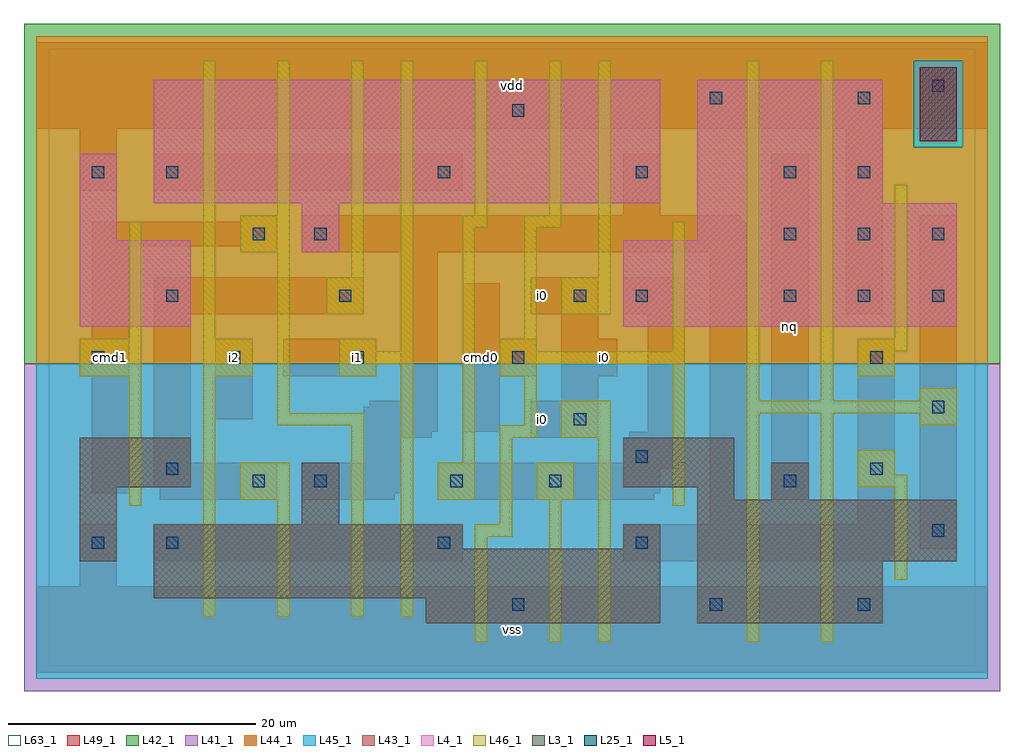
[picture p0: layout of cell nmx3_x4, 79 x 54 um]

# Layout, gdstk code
import gdstk
lib = gdstk.Library(unit=1e-6, precision=1e-09)
def R(c, l, rs):  # rectangles x0, y0, x1, y1
    for r in rs: c.add(gdstk.rectangle(r[:2], r[2:], *l))
def A(c, l, x, y, w, h, nx, ny, dx, dy):  # array of equal rectangles
    R(c, l, [(x+i*dx, y+j*dy, x+i*dx+w, y+j*dy+h) for i in range(nx) for j in range(ny)])
L3_1 = (3, 1)
L4_1 = (4, 1)
L5_1 = (5, 1)
L25_1 = (25, 1)
L41_1 = (41, 1)
L42_1 = (42, 1)
L43_1 = (43, 1)
L44_1 = (44, 1)
L45_1 = (45, 1)
L46_1 = (46, 1)
L49_1 = (49, 1)
L63_1 = (63, 1)

nmx3_x4 = lib.new_cell('nmx3_x4')
R(nmx3_x4, L3_1, [(30.5,3.5,49.5,5.5), (52.5,3.5,67.5,8.5), (8.5,5.5,49.5,9.5), (2.5,8.5,5.5,14.5), (52.5,8.5,73.5,13.5), (8.5,9.5,33.5,11.5), (46.5,9.5,49.5,11.5), (20.5,11.5,23.5,16.5), (52.5,13.5,55.5,14.5), (58.5,13.5,61.5,16.5), (2.5,14.5,11.5,18.5), (46.5,14.5,55.5,18.5)])
R(nmx3_x4, L4_1, [(2.5,27.5,11.5,34.5), (46.5,27.5,73.5,34.5), (20.5,33.5,23.5,37.5), (2.5,34.5,5.5,41.5), (52.5,34.5,73.5,37.5), (8.5,37.5,49.5,47.5), (52.5,37.5,67.5,47.5)])
R(nmx3_x4, L5_1, [(70.5,42.5,73.5,48.5)])
A(nmx3_x4, L25_1, 37.5, 4.5, 1, 1, 1, 3, 0, 20)
A(nmx3_x4, L25_1, 3.5, 9.5, 1, 1, 1, 3, 0, 15)
A(nmx3_x4, L25_1, 59.5, 29.5, 1, 1, 3, 2, 6, 5)
R(nmx3_x4, L25_1, [(53.5,4.5,54.5,5.5), (65.5,4.5,66.5,5.5), (9.5,9.5,10.5,10.5), (31.5,9.5,32.5,10.5), (47.5,9.5,48.5,10.5), (71.5,10.5,72.5,11.5), (16.5,14.5,17.5,15.5), (21.5,14.5,22.5,15.5), (32.5,14.5,33.5,15.5), (40.5,14.5,41.5,15.5), (59.5,14.5,60.5,15.5), (9.5,15.5,10.5,16.5), (66.5,15.5,67.5,16.5), (47.5,16.5,48.5,17.5), (42.5,19.5,43.5,20.5), (71.5,20.5,72.5,21.5), (14.5,24.5,15.5,25.5), (24.5,24.5,25.5,25.5), (66.5,24.5,67.5,25.5), (9.5,29.5,10.5,30.5), (23.5,29.5,24.5,30.5), (42.5,29.5,43.5,30.5), (47.5,29.5,48.5,30.5), (16.5,34.5,17.5,35.5), (21.5,34.5,22.5,35.5), (9.5,39.5,10.5,40.5), (31.5,39.5,32.5,40.5), (47.5,39.5,48.5,40.5), (59.5,39.5,60.5,40.5), (65.5,39.5,66.5,40.5), (53.5,45.5,54.5,46.5), (65.5,45.5,66.5,46.5), (71.5,46.5,72.5,47.5)])
R(nmx3_x4, L41_1, [(-2,-2,77,24.5)])
R(nmx3_x4, L42_1, [(-2,24.5,77,52)])
R(nmx3_x4, L43_1, [(30.5,3.5,49.5,5.5), (52.5,3.5,67.5,8.5), (8.5,5.5,49.5,9.5), (2.5,8.5,5.5,14.5), (52.5,8.5,73.5,13.5), (8.5,9.5,33.5,11.5), (46.5,9.5,49.5,11.5), (20.5,11.5,23.5,16.5), (52.5,13.5,55.5,14.5), (58.5,13.5,61.5,16.5), (2.5,14.5,11.5,18.5), (46.5,14.5,55.5,18.5), (2.5,27.5,11.5,34.5), (46.5,27.5,73.5,34.5), (20.5,33.5,23.5,37.5), (2.5,34.5,5.5,41.5), (52.5,34.5,73.5,37.5), (8.5,37.5,49.5,47.5), (52.5,37.5,67.5,47.5), (70.5,42.5,73.5,48.5)])
R(nmx3_x4, L44_1, [(-1,24.5,76,42), (-1,42,70,49), (74,42,76,49), (-1,49,76,51)])
R(nmx3_x4, L45_1, [(-1,-1,76,24.5), (70,42,74,49)])
R(nmx3_x4, L46_1, [(34.5,2,35.5,10.5), (40.5,2,41.5,13.5), (44.5,2,45.5,18.5), (56.5,2,57.5,20.5), (62.5,2,63.5,20.5), (12.5,4,13.5,23.5), (18.5,4,19.5,13.5), (24.5,4,25.5,19.5), (28.5,4,29.5,24.5), (68.5,7,69.5,14.5), (34.5,10.5,37.5,11.5), (36.5,11.5,37.5,18.5), (6.5,13,7.5,23.5), (50.5,13,51.5,24.5), (15.5,13.5,19.5,16.5), (31.5,13.5,34.5,16.5), (39.5,13.5,42.5,16.5), (65.5,14.5,69.5,15.5), (65.5,15.5,68.5,17.5), (33.5,16.5,34.5,35.5), (36.5,18.5,39.5,19.5), (41.5,18.5,45.5,21.5), (18.5,19.5,25.5,20.5), (38.5,19.5,39.5,23.5), (70.5,19.5,73.5,20.5), (18.5,20.5,19.5,33.5), (56.5,20.5,73.5,21.5), (56.5,21.5,57.5,49), (62.5,21.5,63.5,49), (70.5,21.5,73.5,22.5), (2.5,23.5,7.5,26.5), (12.5,23.5,16.5,26.5), (23.5,23.5,26.5,24.5), (36.5,23.5,39.5,24.5), (65.5,23.5,68.5,25.5), (23.5,24.5,29.5,25.5), (36.5,24.5,51.5,25.5), (23.5,25.5,26.5,26.5), (28.5,25.5,29.5,49), (36.5,25.5,39.5,26.5), (50.5,25.5,51.5,36), (65.5,25.5,69.5,26.5), (6.5,26.5,7.5,36), (12.5,26.5,13.5,49), (38.5,26.5,39.5,35.5), (68.5,26.5,69.5,39), (22.5,28.5,25.5,31.5), (41.5,28.5,45.5,31.5), (24.5,31.5,25.5,49), (44.5,31.5,45.5,49), (15.5,33.5,19.5,36.5), (33.5,35.5,35.5,36.5), (38.5,35.5,41.5,36.5), (18.5,36.5,19.5,49), (34.5,36.5,35.5,49), (40.5,36.5,41.5,49)])
R(nmx3_x4, L49_1, [(-1,-0.5,76,6.5), (2.5,6.5,5.5,11.5), (8.5,8.5,33.5,11.5), (46.5,8.5,68,9), (46.5,9,68.5,11.5), (70.5,9.5,73.5,36.5), (53.5,11.5,56.5,33.5), (65.5,11.5,68.5,26.5), (9,13.5,18.5,14.5), (20.5,13.5,28,14), (31.5,13.5,49,14), (58.5,13.5,61.5,41.5), (3.5,14,6.5,23.5), (20.5,14,28.5,16.5), (31.5,14,49.5,16), (8.5,14.5,18.5,16.5), (31.5,16,51,16.5), (8.5,16.5,11.5,28.5), (25.5,16.5,28.5,18.5), (46.5,16.5,51.5,18.5), (25.5,18.5,31,19), (39,18.5,44.5,21.5), (47,18.5,51.5,19), (25.5,19,31.5,21), (33.5,19,36.5,23.5), (48.5,19,51.5,28.5), (13.5,20,16.5,26.5), (26,21,31.5,21.5), (28.5,21.5,31.5,33.5), (41.5,21.5,44.5,23.5), (2.5,23.5,6.5,26.5), (19,23.5,26.5,26.5), (33.5,23.5,39.5,26.5), (41.5,23.5,46,26.5), (3.5,26.5,6.5,34), (33.5,26.5,36.5,31), (41.5,26.5,44.5,28.5), (8.5,28.5,25.5,31.5), (39,28.5,44.5,31.5), (46.5,28.5,51.5,31), (64.5,28.5,67.5,43.5), (46.5,31,51,31.5), (15.5,33.5,18.5,34), (20.5,33.5,56.5,36), (3.5,34,18.5,36), (15.5,36,18.5,36.5), (20.5,36,56,36.5), (46.5,36.5,49.5,41.5), (2.5,38.5,5.5,43.5), (8.5,38.5,33.5,41.5), (-1,43.5,76,50.5)])
R(nmx3_x4, L63_1, [(0,0,75,50)])
nmx3_x4.add(gdstk.Label('cmd1', (5,25), layer=49, texttype=1))
nmx3_x4.add(gdstk.Label('cmd1', (5,25), layer=49, texttype=1))
nmx3_x4.add(gdstk.Label('i2', (15,25), layer=49, texttype=1))
nmx3_x4.add(gdstk.Label('i2', (15,25), layer=49, texttype=1))
nmx3_x4.add(gdstk.Label('i1', (25,25), layer=49, texttype=1))
nmx3_x4.add(gdstk.Label('i1', (25,25), layer=49, texttype=1))
nmx3_x4.add(gdstk.Label('vss', (37.5,3), layer=49, texttype=1))
nmx3_x4.add(gdstk.Label('vss', (37.5,3), layer=49, texttype=1))
nmx3_x4.add(gdstk.Label('i0', (40,20), layer=49, texttype=1))
nmx3_x4.add(gdstk.Label('i0', (40,20), layer=49, texttype=1))
nmx3_x4.add(gdstk.Label('cmd0', (35,25), layer=49, texttype=1))
nmx3_x4.add(gdstk.Label('cmd0', (35,25), layer=49, texttype=1))
nmx3_x4.add(gdstk.Label('i0', (40,30), layer=49, texttype=1))
nmx3_x4.add(gdstk.Label('i0', (40,30), layer=49, texttype=1))
nmx3_x4.add(gdstk.Label('vdd', (37.5,47), layer=49, texttype=1))
nmx3_x4.add(gdstk.Label('vdd', (37.5,47), layer=49, texttype=1))
nmx3_x4.add(gdstk.Label('i0', (45,25), layer=49, texttype=1))
nmx3_x4.add(gdstk.Label('i0', (45,25), layer=49, texttype=1))
nmx3_x4.add(gdstk.Label('nq', (60,27.5), layer=49, texttype=1))
nmx3_x4.add(gdstk.Label('nq', (60,27.5), layer=49, texttype=1))

lib.write_gds('nmx3_x4.gds')
